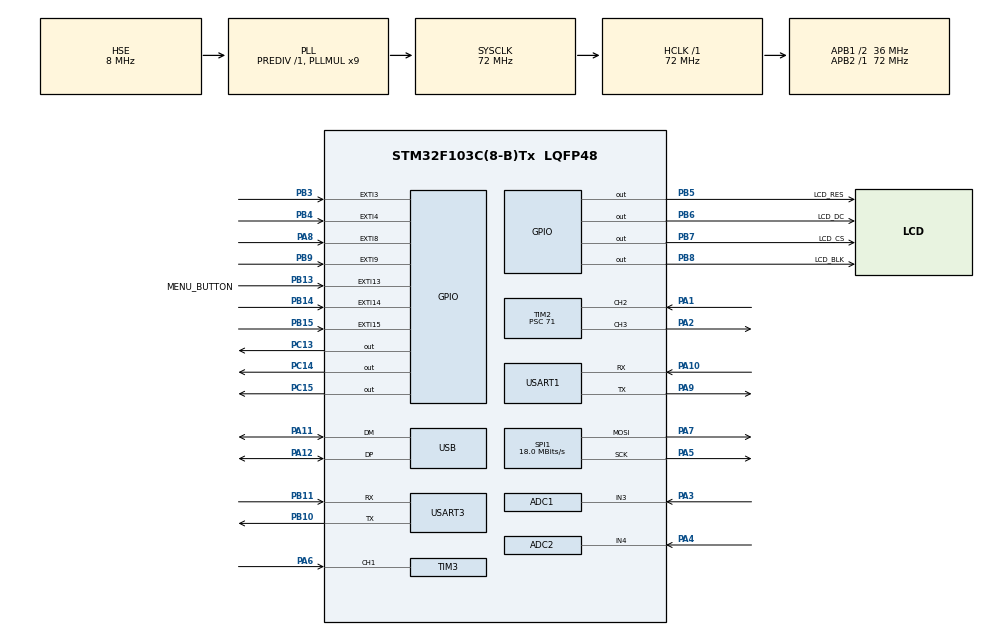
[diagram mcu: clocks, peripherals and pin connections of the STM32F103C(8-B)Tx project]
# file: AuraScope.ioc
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ADC1.Channel-0\#ChannelRegularConversion=ADC_CHANNEL_3
ADC1.ExternalTrigConv=ADC_EXTERNALTRIGCONV_T1_CC1
ADC1.Mode=ADC_DUALMODE_REGSIMULT
ADC1.NbrOfConversion=1
ADC1.NbrOfConversionFlag=1
ADC1.Rank-0\#ChannelRegularConversion=1
ADC1.SamplingTime-0\#ChannelRegularConversion=ADC_SAMPLETIME_1CYCLE_5
ADC1.master=1
ADC2.Channel-0\#ChannelRegularConversion=ADC_CHANNEL_4
ADC2.Mode=ADC_DUALMODE_REGSIMULT
ADC2.NbrOfConversionFlag=1
ADC2.Rank-0\#ChannelRegularConversion=1
ADC2.SamplingTime-0\#ChannelRegularConversion=ADC_SAMPLETIME_1CYCLE_5
Dma.ADC1.0.Direction=DMA_PERIPH_TO_MEMORY
Dma.ADC1.0.Instance=DMA1_Channel1
Dma.ADC1.0.MemDataAlignment=DMA_MDATAALIGN_WORD
Dma.ADC1.0.MemInc=DMA_MINC_ENABLE
Dma.ADC1.0.Mode=DMA_CIRCULAR
Dma.ADC1.0.PeriphDataAlignment=DMA_PDATAALIGN_WORD
Dma.ADC1.0.PeriphInc=DMA_PINC_DISABLE
Dma.ADC1.0.Priority=DMA_PRIORITY_VERY_HIGH
Dma.Request0=ADC1
Dma.Request1=SPI1_TX
Dma.SPI1_TX.1.Direction=DMA_MEMORY_TO_PERIPH
Dma.SPI1_TX.1.Instance=DMA1_Channel3
Dma.SPI1_TX.1.MemDataAlignment=DMA_MDATAALIGN_BYTE
Dma.SPI1_TX.1.MemInc=DMA_MINC_ENABLE
Dma.SPI1_TX.1.Mode=DMA_NORMAL
Dma.SPI1_TX.1.PeriphDataAlignment=DMA_PDATAALIGN_BYTE
Dma.SPI1_TX.1.PeriphInc=DMA_PINC_DISABLE
Dma.SPI1_TX.1.Priority=DMA_PRIORITY_MEDIUM
Mcu.Family=STM32F1
Mcu.Name=STM32F103C(8-B)Tx
Mcu.Package=LQFP48
NVIC.DMA1_Channel1_IRQn=true\:0\:0\:false\:false\:true\:false\:true\:true
NVIC.DMA1_Channel3_IRQn=true\:0\:0\:false\:false\:true\:false\:true\:true
NVIC.EXTI15_10_IRQn=true\:0\:0\:false\:false\:true\:true\:true\:true
NVIC.EXTI3_IRQn=true\:0\:0\:false\:false\:true\:true\:true\:true
NVIC.EXTI4_IRQn=true\:0\:0\:false\:false\:true\:true\:true\:true
NVIC.EXTI9_5_IRQn=true\:0\:0\:false\:false\:true\:true\:true\:true
NVIC.PriorityGroup=NVIC_PRIORITYGROUP_4
NVIC.SPI1_IRQn=true\:0\:0\:false\:false\:true\:true\:true\:true
NVIC.TIM2_IRQn=true\:0\:0\:false\:false\:true\:true\:true\:true
NVIC.TIM3_IRQn=true\:0\:0\:false\:false\:true\:true\:true\:true
NVIC.USB_LP_CAN1_RX0_IRQn=true\:0\:0\:false\:false\:true\:false\:true\:true
PA1.Signal=S_TIM2_CH2
PA10.Mode=Asynchronous
PA10.Signal=USART1_RX
PA11.Mode=Device
PA11.Signal=USB_DM
PA12.Mode=Device
PA12.Signal=USB_DP
PA13.Mode=Serial_Wire
PA13.Signal=SYS_JTMS-SWDIO
PA14.Mode=Serial_Wire
PA14.Signal=SYS_JTCK-SWCLK
PA2.Signal=S_TIM2_CH3
PA3.Signal=ADCx_IN3
PA4.Signal=ADCx_IN4
PA5.Mode=TX_Only_Simplex_Unidirect_Master
PA5.Signal=SPI1_SCK
PA6.Signal=S_TIM3_CH1
PA7.Mode=TX_Only_Simplex_Unidirect_Master
PA7.Signal=SPI1_MOSI
PA8.GPIO_ModeDefaultEXTI=GPIO_MODE_IT_FALLING
PA8.GPIO_PuPd=GPIO_PULLUP
PA8.Signal=GPXTI8
PA9.Mode=Asynchronous
PA9.Signal=USART1_TX
PB10.Mode=Asynchronous
PB10.Signal=USART3_TX
PB11.Mode=Asynchronous
PB11.Signal=USART3_RX
PB13.GPIO_Label=MENU_BUTTON
PB13.GPIO_ModeDefaultEXTI=GPIO_MODE_IT_FALLING
PB13.GPIO_PuPd=GPIO_PULLUP
PB13.Signal=GPXTI13
PB14.GPIO_ModeDefaultEXTI=GPIO_MODE_IT_FALLING
PB14.GPIO_PuPd=GPIO_PULLUP
PB14.Signal=GPXTI14
PB15.GPIO_ModeDefaultEXTI=GPIO_MODE_IT_FALLING
PB15.GPIO_PuPd=GPIO_PULLUP
PB15.Signal=GPXTI15
PB3.GPIO_ModeDefaultEXTI=GPIO_MODE_IT_FALLING
PB3.GPIO_PuPd=GPIO_PULLUP
PB3.Signal=GPXTI3
PB4.GPIO_ModeDefaultEXTI=GPIO_MODE_IT_FALLING
PB4.GPIO_PuPd=GPIO_PULLUP
PB4.Signal=GPXTI4
PB5.GPIO_Label=LCD_RES
PB5.GPIO_Speed=GPIO_SPEED_FREQ_HIGH
PB5.PinState=GPIO_PIN_SET
PB5.Signal=GPIO_Output
PB6.GPIO_Label=LCD_DC
PB6.GPIO_PuPd=GPIO_NOPULL
PB6.GPIO_Speed=GPIO_SPEED_FREQ_HIGH
PB6.PinState=GPIO_PIN_SET
PB6.Signal=GPIO_Output
PB7.GPIO_Label=LCD_CS
PB7.PinState=GPIO_PIN_SET
PB7.Signal=GPIO_Output
PB8.GPIO_Label=LCD_BLK
PB8.GPIO_Speed=GPIO_SPEED_FREQ_HIGH
PB8.PinState=GPIO_PIN_SET
PB8.Signal=GPIO_Output
PB9.GPIO_ModeDefaultEXTI=GPIO_MODE_IT_FALLING
PB9.GPIO_PuPd=GPIO_PULLUP
PB9.Signal=GPXTI9
PC13-TAMPER-RTC.Signal=GPIO_Output
PC14-OSC32_IN.Signal=GPIO_Output
PC15-OSC32_OUT.Signal=GPIO_Output
PD0-OSC_IN.Mode=HSE-External-Oscillator
PD0-OSC_IN.Signal=RCC_OSC_IN
PD1-OSC_OUT.Mode=HSE-External-Oscillator
PD1-OSC_OUT.Signal=RCC_OSC_OUT
ProjectManager.HeapSize=0x100
ProjectManager.StackSize=0x400
ProjectManager.TargetToolchain=CMake
RCC.ADCPresc=RCC_ADCPCLK2_DIV6
RCC.AHBFreq_Value=72000000
RCC.APB1CLKDivider=RCC_HCLK_DIV2
RCC.APB1Freq_Value=36000000
RCC.APB1TimFreq_Value=72000000
RCC.APB2Freq_Value=72000000
RCC.APB2TimFreq_Value=72000000
RCC.HCLKFreq_Value=72000000
RCC.PLLMUL=RCC_PLL_MUL9
RCC.PLLSourceVirtual=RCC_PLLSOURCE_HSE
RCC.SYSCLKFreq_VALUE=72000000
RCC.SYSCLKSource=RCC_SYSCLKSOURCE_PLLCLK
RCC.USBFreq_Value=48000000
RCC.USBPrescaler=RCC_USBCLKSOURCE_PLL_DIV1_5
SH.ADCx_IN3.0=ADC1_IN3,IN3
SH.ADCx_IN4.0=ADC2_IN4,IN4
SH.S_TIM2_CH2.0=TIM2_CH2,Input_Capture2_from_TI2
SH.S_TIM2_CH3.0=TIM2_CH3,PWM Generation3 CH3
SH.S_TIM3_CH1.0=TIM3_CH1,Input_Capture1_from_TI1
SPI1.BaudRatePrescaler=SPI_BAUDRATEPRESCALER_4
SPI1.CalculateBaudRate=18.0 MBits/s
SPI1.Direction=SPI_DIRECTION_2LINES
SPI1.Mode=SPI_MODE_MASTER
SPI1.VirtualType=VM_MASTER
TIM1.Channel-Output\ Compare1\ No\ Output=TIM_CHANNEL_1
TIM1.OCMode_1=TIM_OCMODE_TOGGLE
TIM1.Period=719
TIM2.Channel-Input_Capture2_from_TI2=TIM_CHANNEL_2
TIM2.Channel-PWM\ Generation3\ CH3=TIM_CHANNEL_3
TIM2.Prescaler=71
TIM3.Channel-Input_Capture1_from_TI1=TIM_CHANNEL_1
TIM3.Prescaler=71
USART1.VirtualMode=VM_ASYNC
USART3.VirtualMode=VM_ASYNC
USB_DEVICE.CLASS_NAME_FS=CDC
USB_DEVICE.VirtualMode=Cdc
USB_DEVICE.VirtualModeFS=Cdc_FS
VP_TIM1_VS_ClockSourceINT.Mode=Internal
VP_TIM1_VS_no_output1.Mode=Output Compare1 No Output
VP_USB_DEVICE_VS_USB_DEVICE_CDC_FS.Mode=CDC_FS
board=custom

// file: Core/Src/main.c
/* USER CODE BEGIN Header */
/**
  ******************************************************************************
  * @file           : main.c
  * @brief          : Main program body
  ******************************************************************************
  * @attention
  *
  * Copyright (c) 2026 STMicroelectronics.
  * All rights reserved.
  *
  * This software is licensed under terms that can be found in the LICENSE file
  * in the root directory of this software component.
  * If no LICENSE file comes with this software, it is provided AS-IS.
  *
  ******************************************************************************
  */
/* USER CODE END Header */
#include "main.h"
#include "adc.h"
#include "dma.h"
#include "spi.h"
#include "tim.h"
#include "usart.h"
#include "usb_device.h"
#include "gpio.h"

/* USER CODE BEGIN Includes */
#include "string.h"
#include "st7735.h"
#include "ui.h"
#include "signal_gen.h"
#include "osc_app.h"
/* USER CODE END Includes */

/* USER CODE BEGIN PV */
volatile uint8_t key_pressed = 0;
volatile int8_t encoder_delta = 0;
volatile uint32_t last_button_press_time = 0;

float osc_vpp_ch1 = 0.0f;
float osc_vpp_ch2 = 0.0f;
/* USER CODE END PV */

void SystemClock_Config(void);

int main(void)
{

  /* MCU Configuration--------------------------------------------------------*/

  /* Reset of all peripherals, Initializes the Flash interface and the Systick. */
  HAL_Init();

  /* Configure the system clock */
  SystemClock_Config();

  /* Initialize all configured peripherals */
  MX_GPIO_Init();
  MX_DMA_Init();
  MX_USART1_UART_Init();
  MX_USART3_UART_Init();
  MX_USB_DEVICE_Init();
  MX_TIM2_Init();
  MX_ADC1_Init();
  MX_ADC2_Init();
  MX_TIM3_Init();
  MX_TIM1_Init();
  MX_SPI1_Init();
  /* USER CODE BEGIN 2 */

  MX_TIM1_Init();

  // 初始化 ST7735 显示屏
  ST7735_Init();
  HAL_Delay(100);

  // 显示启动界面 (可选)
  // ST7735_ShowSplashScreen();
  // HAL_Delay(1000);

  // 初始化 UI
  UI_Init();

  // 初始化示波器核心
  OSC_Init();

  // 上电后等待硬件信号稳定，防止误触发
  HAL_Delay(200);

  // Start Peripherals
  HAL_TIM_Base_Start(&htim1);
  HAL_TIM_OC_Start(&htim1, TIM_CHANNEL_1);

  // Start Frequency Measurement (Input Capture)
  HAL_TIM_IC_Start_IT(&htim3, TIM_CHANNEL_1); // CH1 Freq
  HAL_TIM_IC_Start_IT(&htim2, TIM_CHANNEL_2); // CH2 Freq
  // Note: TIM2 Base IT is started by SignalGen_Init -> SignalGen_ConfigHardware
  // TIM3 Base IT needs to be started for overflow counting
  HAL_TIM_Base_Start_IT(&htim3);

  // Start Oscilloscope ADC
  OSC_Start();

  /* USER CODE END 2 */

  /* Infinite loop */
  while (1)
  {

    /* USER CODE BEGIN 3 */
    // Process Oscilloscope Data (Trigger, Scaling, Vpp)
    OSC_Process();
    UI_Refresh();

    // 如果没有外部交互且波形刚处理完，可以适当减小延迟以提升帧率
    // 但为了保证按键响应，这里保留一个极小的延迟
    if (key_pressed) {
        UI_HandleKey(key_pressed);
        key_pressed = 0;
    }
    if (encoder_delta != 0) {
        UI_HandleEncoder(encoder_delta);
        encoder_delta = 0;
        UI_Refresh(); // Encoder changes params, need refresh
    }

    HAL_Delay(5); // 提升帧率限制到 ~200fps (实际受限于 SPI/USB 阻塞)
  }
  /* USER CODE END 3 */
}

void SystemClock_Config(void)
{
  RCC_OscInitTypeDef RCC_OscInitStruct = {0};
  RCC_ClkInitTypeDef RCC_ClkInitStruct = {0};
  RCC_PeriphCLKInitTypeDef PeriphClkInit = {0};

  /** Initializes the RCC Oscillators according to the specified parameters
  * in the RCC_OscInitTypeDef structure.
  */
  RCC_OscInitStruct.OscillatorType = RCC_OSCILLATORTYPE_HSE;
  RCC_OscInitStruct.HSEState = RCC_HSE_ON;
  RCC_OscInitStruct.HSEPredivValue = RCC_HSE_PREDIV_DIV1;
  RCC_OscInitStruct.HSIState = RCC_HSI_ON;
  RCC_OscInitStruct.PLL.PLLState = RCC_PLL_ON;
  RCC_OscInitStruct.PLL.PLLSource = RCC_PLLSOURCE_HSE;
  RCC_OscInitStruct.PLL.PLLMUL = RCC_PLL_MUL9;
  if (HAL_RCC_OscConfig(&RCC_OscInitStruct) != HAL_OK)
  {
    Error_Handler();
  }

  /** Initializes the CPU, AHB and APB buses clocks
  */
  RCC_ClkInitStruct.ClockType = RCC_CLOCKTYPE_HCLK|RCC_CLOCKTYPE_SYSCLK
                              |RCC_CLOCKTYPE_PCLK1|RCC_CLOCKTYPE_PCLK2;
  RCC_ClkInitStruct.SYSCLKSource = RCC_SYSCLKSOURCE_PLLCLK;
  RCC_ClkInitStruct.AHBCLKDivider = RCC_SYSCLK_DIV1;
  RCC_ClkInitStruct.APB1CLKDivider = RCC_HCLK_DIV2;
  RCC_ClkInitStruct.APB2CLKDivider = RCC_HCLK_DIV1;

  if (HAL_RCC_ClockConfig(&RCC_ClkInitStruct, FLASH_LATENCY_2) != HAL_OK)
  {
    Error_Handler();
  }
  PeriphClkInit.PeriphClockSelection = RCC_PERIPHCLK_ADC|RCC_PERIPHCLK_USB;
  PeriphClkInit.AdcClockSelection = RCC_ADCPCLK2_DIV6;
  PeriphClkInit.UsbClockSelection = RCC_USBCLKSOURCE_PLL_DIV1_5;
  if (HAL_RCCEx_PeriphCLKConfig(&PeriphClkInit) != HAL_OK)
  {
    Error_Handler();
  }
}

/* USER CODE BEGIN 4 */
// Forward declaration
void OSC_TIM_PeriodElapsedCallback(TIM_HandleTypeDef *htim);
void OSC_TIM_IC_CaptureCallback(TIM_HandleTypeDef *htim);

void HAL_GPIO_EXTI_Callback(uint16_t GPIO_Pin)
{
    uint32_t current_time = HAL_GetTick();

    // 按键消抖与处理
    if (GPIO_Pin == GPIO_PIN_13 || GPIO_Pin == GPIO_PIN_14 ||
        GPIO_Pin == GPIO_PIN_15 || GPIO_Pin == GPIO_PIN_8 || GPIO_Pin == GPIO_PIN_9) {

        if (current_time - last_button_press_time > 200) { // 200ms debounce
            last_button_press_time = current_time;
            if (GPIO_Pin == GPIO_PIN_13) key_pressed = 1;      // KEY1
            else if (GPIO_Pin == GPIO_PIN_14) key_pressed = 2; // KEY2
            else if (GPIO_Pin == GPIO_PIN_15) key_pressed = 3; // KEY3
            else if (GPIO_Pin == GPIO_PIN_8) key_pressed = 4;  // KEY4
            else if (GPIO_Pin == GPIO_PIN_9) key_pressed = 5;  // EC11 Button
        }
    }

    // 旋转编码器处理 (PB4: A, PB3: B)
    // 假设 GPIO_MODE_IT_FALLING
    else if (GPIO_Pin == GPIO_PIN_4) { // A Falling
        if (HAL_GPIO_ReadPin(GPIOB, GPIO_PIN_3) == GPIO_PIN_RESET) {
            encoder_delta = 1; // CW
        } else {
            encoder_delta = -1; // CCW
        }
    }
    else if (GPIO_Pin == GPIO_PIN_3) { // B Falling
        if (HAL_GPIO_ReadPin(GPIOB, GPIO_PIN_4) == GPIO_PIN_RESET) {
            encoder_delta = -1; // CCW
        } else {
            encoder_delta = 1; // CW
        }
    }
}

void HAL_TIM_PeriodElapsedCallback(TIM_HandleTypeDef *htim)
{
    if (htim->Instance == TIM2) {
        SignalGen_TIM_PeriodElapsedCallback(htim);
        OSC_TIM_PeriodElapsedCallback(htim);
    }
    else if (htim->Instance == TIM3) {
        OSC_TIM_PeriodElapsedCallback(htim);
    }
}

void HAL_TIM_IC_CaptureCallback(TIM_HandleTypeDef *htim)
{
    OSC_TIM_IC_CaptureCallback(htim);
}

// HAL_ADC_ConvCpltCallback moved to osc_app.c

/* USER CODE BEGIN 4_Init */
/* USER CODE END 4_Init */

/* USER CODE END 4 */

void Error_Handler(void)
{
  __disable_irq();
  while (1)
  {
  }
}
